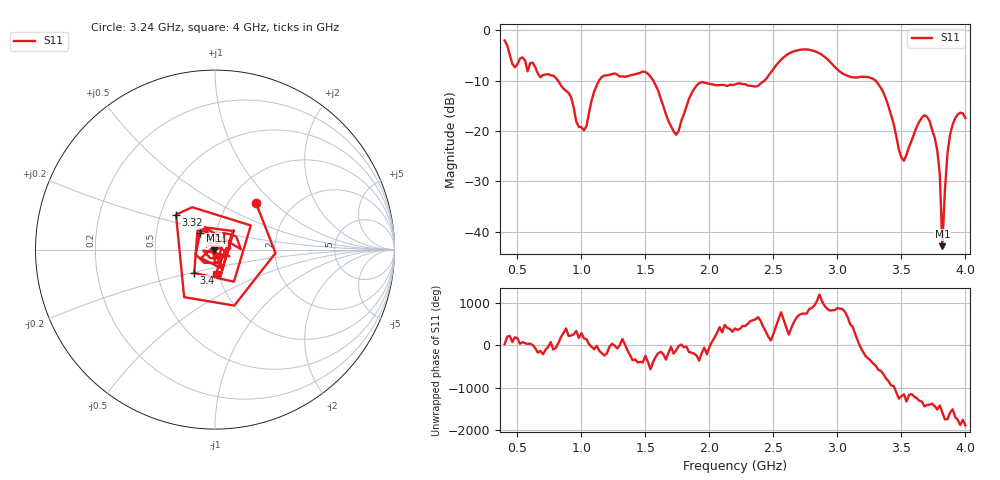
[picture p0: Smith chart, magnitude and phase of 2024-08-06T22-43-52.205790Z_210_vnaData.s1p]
!Created with skrf (http://scikit-rf.org).
# Hz S RI R 50.0
!freq ReS11 ImS11
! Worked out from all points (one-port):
!   181 points, 400 MHz to 4 GHz, reference 50 ohm
!   lowest |S11| = -42.9 dB at 3.82 GHz (marker M1), VSWR 1.01, Z = 49.4 - j0.428 ohm
!   |S11| at or under -10 dB: 817.4 MHz to 1.137 GHz (319.8 MHz wide, 32.7 % of centre); 1.562 GHz to 2.428 GHz (865.6 MHz wide, 43.4 % of centre); 3.299 GHz to end of sweep
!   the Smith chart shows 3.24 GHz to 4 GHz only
!   S11 on the Smith chart (normalised r, x): 3.24 GHz: 1.34, +0.78; 3.32 GHz: 0.60, +0.26; 3.4 GHz: 0.77, -0.21; 3.64 GHz: 0.83, +0.15; 4 GHz: 0.97, -0.27
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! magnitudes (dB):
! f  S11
! 400 MHz  -2.0
! 480 MHz  -7.3
! 540 MHz  -5.4
! 860 MHz  -11.6
! 1.02 GHz  -19.9
! 1.14 GHz  -9.9
! 1.3 GHz  -9.1
! 1.52 GHz  -8.6
! 1.76 GHz  -20.0
! 1.92 GHz  -10.5
! 2.2 GHz  -10.8
! 2.38 GHz  -11.0
! 2.66 GHz  -4.1
! 3.1 GHz  -9.2
! 3.24 GHz  -9.3
! 3.32 GHz  -10.7
! 3.4 GHz  -15.2
! 3.5 GHz  -25.3
! 3.56 GHz  -23.1
! 3.64 GHz  -18.2
! 3.7 GHz  -17.2
! 3.78 GHz  -23.8
! 3.8 GHz  -28.6
! 3.82 GHz  -42.9
! 3.84 GHz  -31.7
! 3.88 GHz  -20.8
! 3.94 GHz  -16.7
! 4 GHz  -17.4
